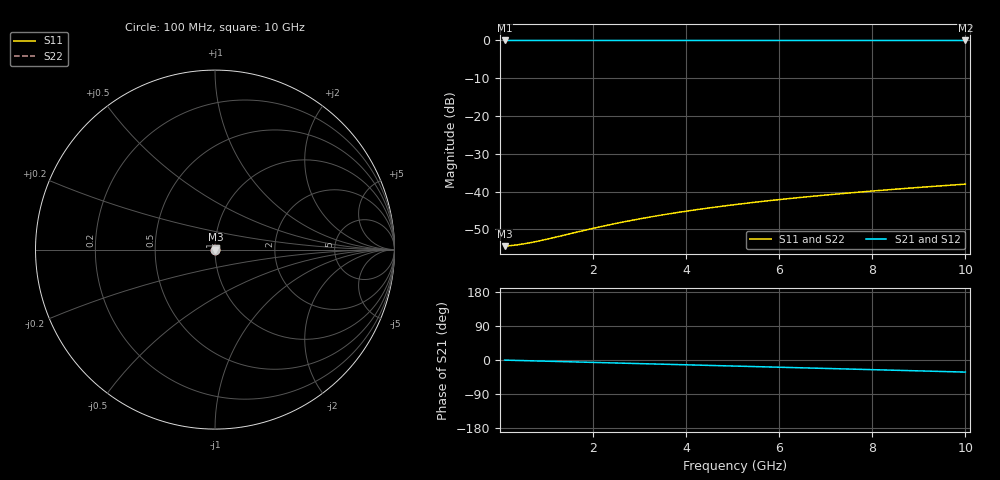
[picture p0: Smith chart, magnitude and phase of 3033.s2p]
# Hz S RI R 50.00
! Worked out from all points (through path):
!   100 points, 100 MHz to 10 GHz, reference 50 ohm
!   highest |S21| = -0.02 dB at 100 MHz (marker M1); lowest = 0.0 dB at 10 GHz (marker M2)
!   group delay of S21, straight-line fit = 8.87 ps
!   lowest |S11| = -54.4 dB at 100 MHz (marker M3), VSWR 1.00, Z = 50.2 + j0.0123 ohm
!   |S11| at or under -10 dB: start of sweep to end of sweep
!   |S22| runs from -54.4 to -38.0 dB; largest |S21 - S12| = 0
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1e8  0.00189 0.000122  0.9981 -0.00551  0.9981 -0.00551  0.00189 0.000122
3e8  0.00191 0.000366  0.9979 -0.0165  0.9979 -0.0165  0.00191 0.000366
4e8  0.00192 0.000488  0.9978 -0.022  0.9978 -0.022  0.00192 0.000488
5e8  0.00194 0.00061  0.9977 -0.0276  0.9977 -0.0276  0.00194 0.00061
7e8  0.00196 0.000852  0.9973 -0.0386  0.9973 -0.0386  0.00196 0.000852
1e9  0.002 0.00121  0.9965 -0.0551  0.9965 -0.0551  0.002 0.00121
1.8e9  0.00216 0.00216  0.993 -0.0991  0.993 -0.0991  0.00216 0.00216
2.2e9  0.00227 0.00263  0.9906 -0.1211  0.9906 -0.1211  0.00227 0.00263
2.6e9  0.0024 0.00308  0.9876 -0.143  0.9876 -0.143  0.0024 0.00308
3e9  0.00255 0.00353  0.9842 -0.1648  0.9842 -0.1648  0.00255 0.00353
3.4e9  0.00272 0.00397  0.9803 -0.1866  0.9803 -0.1866  0.00272 0.00397
3.8e9  0.00291 0.0044  0.9759 -0.2083  0.9759 -0.2083  0.00291 0.0044
4.2e9  0.00311 0.00482  0.971 -0.23  0.971 -0.23  0.00311 0.00482
4.6e9  0.00334 0.00522  0.9656 -0.2515  0.9656 -0.2515  0.00334 0.00522
5.1e9  0.00365 0.00572  0.9582 -0.2783  0.9582 -0.2783  0.00365 0.00572
5.5e9  0.00392 0.0061  0.9517 -0.2995  0.9517 -0.2995  0.00392 0.0061
5.9e9  0.0042 0.00647  0.9448 -0.3207  0.9448 -0.3207  0.0042 0.00647
6.7e9  0.00482 0.00718  0.9295 -0.3625  0.9295 -0.3625  0.00482 0.00718
7.5e9  0.00551 0.00784  0.9123 -0.4037  0.9123 -0.4037  0.00551 0.00784
8.4e9  0.00637 0.00852  0.8907 -0.4492  0.8907 -0.4492  0.00637 0.00852
9.2e9  0.0072 0.00907  0.8696 -0.4888  0.8696 -0.4888  0.0072 0.00907
1e10  0.0081 0.00957  0.8466 -0.5274  0.8466 -0.5274  0.0081 0.00957
